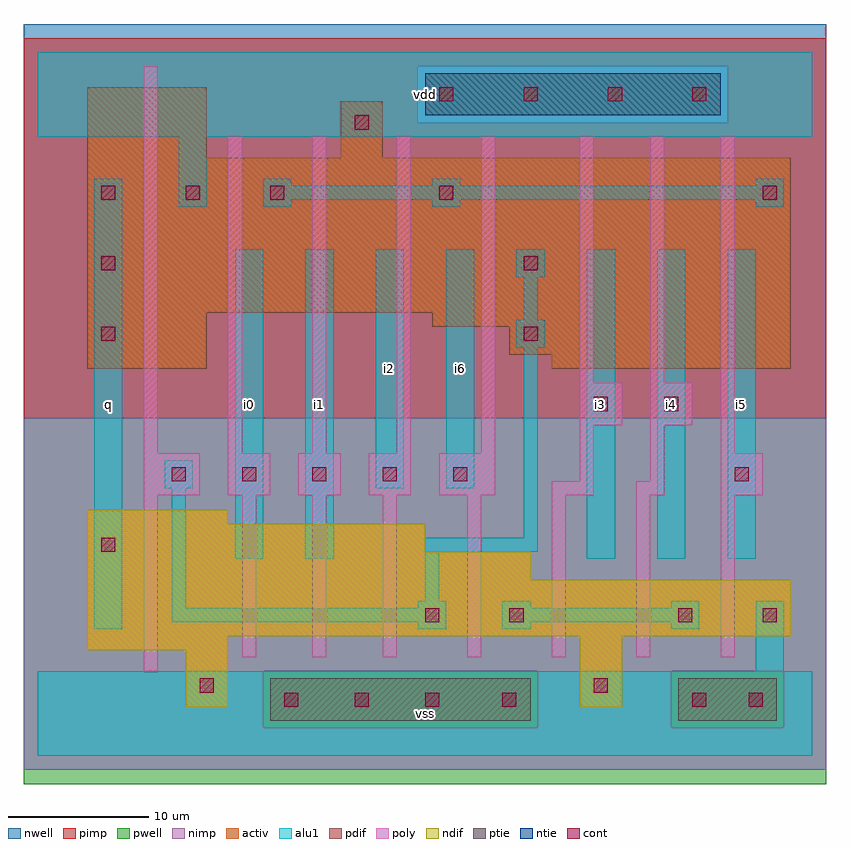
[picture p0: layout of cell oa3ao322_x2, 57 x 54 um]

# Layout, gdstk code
import gdstk
lib = gdstk.Library(unit=1e-6, precision=1e-09)
def R(c, l, rs):  # rectangles x0, y0, x1, y1
    for r in rs: c.add(gdstk.rectangle(r[:2], r[2:], *l))
def A(c, l, x, y, w, h, nx, ny, dx, dy):  # array of equal rectangles
    R(c, l, [(x+i*dx, y+j*dy, x+i*dx+w, y+j*dy+h) for i in range(nx) for j in range(ny)])
ndif = (3, 0)
pdif = (4, 0)
ntie = (5, 0)
ptie = (6, 0)
cont = (25, 0)
pwell = (41, 0)
nwell = (42, 0)
activ = (43, 0)
pimp = (44, 0)
nimp = (45, 0)
poly = (46, 0)
alu1 = (49, 0)

oa3ao322_x2 = lib.new_cell('oa3ao322_x2')
R(oa3ao322_x2, ndif, [(10.5,3.5,13.5,7.5), (38.5,3.5,41.5,8.5), (3.5,7.5,13.5,8.5), (3.5,8.5,53.5,12.5), (3.5,12.5,35,14.5), (3.5,14.5,27.5,16.5), (3.5,16.5,13.5,17.5)])
R(oa3ao322_x2, pdif, [(3.5,27.5,12,31.5), (36.5,27.5,53.5,28.5), (33.5,28.5,53.5,30.5), (28,30.5,53.5,31.5), (3.5,31.5,53.5,42.5), (3.5,42.5,12,47.5), (21.5,42.5,24.5,46.5)])
R(oa3ao322_x2, ntie, [(27.5,45.5,48.5,48.5)])
R(oa3ao322_x2, ptie, [(16.5,2.5,35,5.5), (45.5,2.5,52.5,5.5)])
A(oa3ao322_x2, cont, 17.5, 3.5, 1, 1, 3, 1, 5, 0)
A(oa3ao322_x2, cont, 9.5, 19.5, 1, 1, 5, 1, 5, 0)
A(oa3ao322_x2, cont, 4.5, 39.5, 1, 1, 3, 1, 6, 0)
A(oa3ao322_x2, cont, 28.5, 46.5, 1, 1, 4, 1, 6, 0)
R(oa3ao322_x2, cont, [(33,3.5,34,4.5), (46.5,3.5,47.5,4.5), (50.5,3.5,51.5,4.5), (11.5,4.5,12.5,5.5), (39.5,4.5,40.5,5.5), (27.5,9.5,28.5,10.5), (33.5,9.5,34.5,10.5), (45.5,9.5,46.5,10.5), (51.5,9.5,52.5,10.5), (4.5,14.5,5.5,15.5), (49.5,19.5,50.5,20.5), (39.5,24.5,40.5,25.5), (44.5,24.5,45.5,25.5), (4.5,29.5,5.5,30.5), (34.5,29.5,35.5,30.5), (4.5,34.5,5.5,35.5), (34.5,34.5,35.5,35.5), (28.5,39.5,29.5,40.5), (51.5,39.5,52.5,40.5), (22.5,44.5,23.5,45.5)])
R(oa3ao322_x2, pwell, [(-1,-2,56,24)])
R(oa3ao322_x2, nwell, [(-1,24,56,52)])
R(oa3ao322_x2, activ, [(16.5,2.5,35,5.5), (45.5,2.5,52.5,5.5), (10.5,3.5,13.5,7.5), (38.5,3.5,41.5,8.5), (3.5,7.5,13.5,8.5), (3.5,8.5,53.5,12.5), (3.5,12.5,35,14.5), (3.5,14.5,27.5,16.5), (3.5,16.5,13.5,17.5), (3.5,27.5,12,31.5), (36.5,27.5,53.5,28.5), (33.5,28.5,53.5,30.5), (28,30.5,53.5,31.5), (3.5,31.5,53.5,42.5), (3.5,42.5,12,47.5), (21.5,42.5,24.5,46.5), (27.5,45.5,48.5,48.5)])
R(oa3ao322_x2, pimp, [(16,2,35.5,6), (45,2,53,6), (-1,24,56,45), (-1,45,27,49), (49,45,56,49), (-1,49,56,51)])
R(oa3ao322_x2, nimp, [(-1,-1,56,2), (-1,2,16,6), (35.5,2,45,6), (53,2,56,6), (-1,6,56,24), (27,45,49,49)])
A(oa3ao322_x2, poly, 14.5, 7, 1, 11.5, 3, 1, 5, 0)
A(oa3ao322_x2, poly, 30.5, 7, 1, 11.5, 4, 1, 6, 0)
A(oa3ao322_x2, poly, 13.5, 18.5, 3, 3, 3, 1, 5, 0)
A(oa3ao322_x2, poly, 13.5, 21.5, 1, 22.5, 4, 1, 6, 0)
R(oa3ao322_x2, poly, [(7.5,6,8.5,18.5), (7.5,18.5,11.5,21.5), (28.5,18.5,32.5,21.5), (36.5,18.5,39.5,19.5), (42.5,18.5,44.5,19.5), (48.5,18.5,51.5,21.5), (38.5,19.5,39.5,23.5), (43.5,19.5,44.5,23.5), (7.5,21.5,8.5,49), (48.5,21.5,49.5,44), (38.5,23.5,41.5,26.5), (43.5,23.5,46.5,26.5), (38.5,26.5,39.5,44), (43.5,26.5,44.5,44)])
A(oa3ao322_x2, alu1, 39, 14, 2, 22, 3, 1, 5, 0)
R(oa3ao322_x2, alu1, [(0,0,55,6), (51,6,53,11), (4,9,6,41), (27,9,29,9.5), (33,9,35,9.5), (45,9,47,9.5), (9.5,9.5,29,10.5), (33,9.5,47,10.5), (9.5,10.5,10.5,19), (27,10.5,29,11), (33,10.5,35,11), (45,10.5,47,11), (27.5,11,28.5,14.5), (14,14,16,36), (19,14,21,36), (27.5,14.5,35.5,15.5), (34.5,15.5,35.5,29), (9,19,11,21), (24,19,26,36), (29,19,31,36), (34,29,36,31), (34.5,31,35.5,34), (34,34,36,36), (10,39,12,44), (16,39,18,39.5), (28,39,30,39.5), (51,39,53,39.5), (16,39.5,53,40.5), (16,40.5,18,41), (28,40.5,30,41), (51,40.5,53,41), (0,44,55,50)])
oa3ao322_x2.add(gdstk.Label('q', (5,25), layer=49, texttype=0))
oa3ao322_x2.add(gdstk.Label('i0', (15,25), layer=49, texttype=0))
oa3ao322_x2.add(gdstk.Label('vss', (27.5,3), layer=49, texttype=0))
oa3ao322_x2.add(gdstk.Label('i1', (20,25), layer=49, texttype=0))
oa3ao322_x2.add(gdstk.Label('i6', (30,27.5), layer=49, texttype=0))
oa3ao322_x2.add(gdstk.Label('i2', (25,27.5), layer=49, texttype=0))
oa3ao322_x2.add(gdstk.Label('vdd', (27.5,47), layer=49, texttype=0))
oa3ao322_x2.add(gdstk.Label('i3', (40,25), layer=49, texttype=0))
oa3ao322_x2.add(gdstk.Label('i4', (45,25), layer=49, texttype=0))
oa3ao322_x2.add(gdstk.Label('i5', (50,25), layer=49, texttype=0))

lib.write_gds('oa3ao322_x2.gds')
